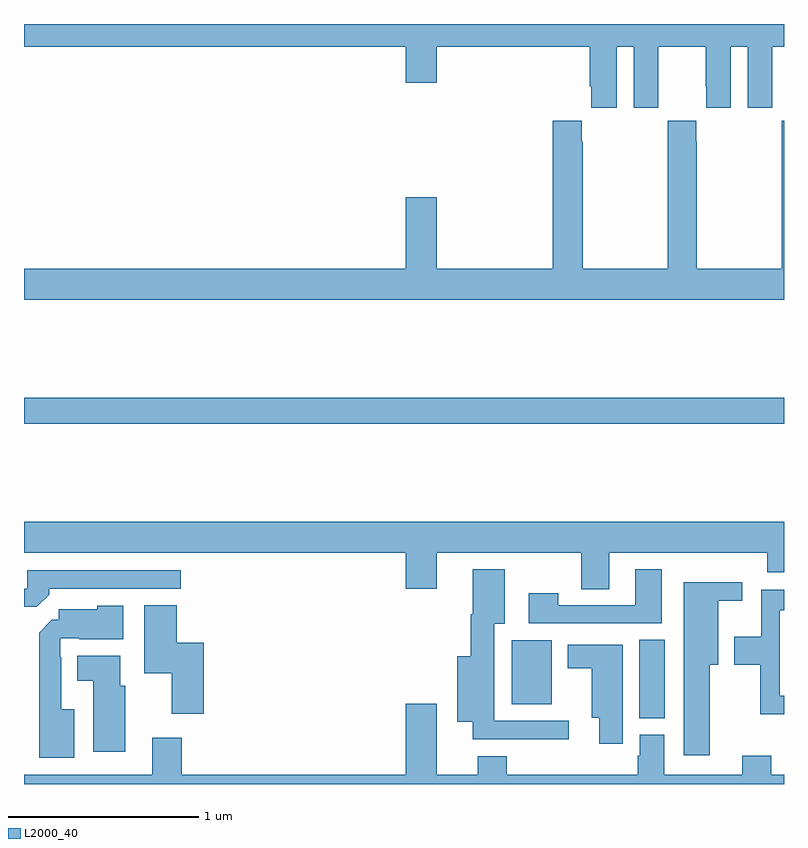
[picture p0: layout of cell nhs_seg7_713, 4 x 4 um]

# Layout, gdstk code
import gdstk
lib = gdstk.Library(unit=1e-6, precision=1e-09)
def R(c, l, rs):  # rectangles x0, y0, x1, y1
    for r in rs: c.add(gdstk.rectangle(r[:2], r[2:], *l))
def P(c, l, *ps):  # polygons
    for p in ps: c.add(gdstk.Polygon(p, *l))
L2000_40 = (2000, 40)

nhs_seg7_713 = lib.new_cell('nhs_seg7_713')
R(nhs_seg7_713, L2000_40, [(166.238,1066.345,166.372,1066.76), (165.566,1066.421,165.778,1066.756), (163,1067.896,167,1068.032)])
P(nhs_seg7_713, L2000_40, [(166.12,1069.88),(166.208,1069.88),(166.208,1069.56),(166.338,1069.56),(166.338,1069.672),(166.339,1069.672),(166.339,1069.88),(166.589,1069.88),(166.589,1069.672),(166.59,1069.672),(166.59,1069.56),(166.72,1069.56),(166.72,1069.88),(166.808,1069.88),(166.808,1069.56),(166.938,1069.56),(166.938,1069.672),(166.939,1069.672),(166.939,1069.88),(167,1069.88),(167,1070),(163,1070),(163,1069.88),(165.008,1069.88),(165.008,1069.692),(165.172,1069.692),(165.172,1069.88),(165.977,1069.88),(165.977,1069.672),(165.986,1069.672),(165.986,1069.56),(166.12,1069.56)],
  [(167,1069.492),(166.989,1069.492),(166.989,1069.379),(166.987,1069.379),(166.987,1068.712),(166.542,1068.712),(166.542,1069.379),(166.539,1069.379),(166.539,1069.492),(166.389,1069.492),(166.389,1069.379),(166.387,1069.379),(166.387,1068.712),(165.942,1068.712),(165.942,1069.379),(165.935,1069.379),(165.935,1069.492),(165.782,1069.492),(165.782,1068.712),(165.172,1068.712),(165.172,1069.087),(165.008,1069.087),(165.008,1068.712),(163,1068.712),(163,1068.548),(167,1068.548)],
  [(166.081,1067.216),(166.913,1067.216),(166.913,1067.114),(167,1067.114),(167,1067.38),(163,1067.38),(163,1067.216),(165.008,1067.216),(165.008,1067.028),(165.172,1067.028),(165.172,1067.216),(165.934,1067.216),(165.934,1067.026),(166.081,1067.026)],
  [(165.868,1066.332),(165.475,1066.332),(165.475,1066.844),(165.529,1066.844),(165.529,1067.131),(165.362,1067.131),(165.362,1066.893),(165.35,1066.893),(165.35,1066.672),(165.281,1066.672),(165.281,1066.328),(165.362,1066.328),(165.362,1066.235),(165.868,1066.235)],
  [(166.357,1067.131),(166.217,1067.131),(166.217,1066.941),(165.813,1066.941),(165.813,1067.005),(165.657,1067.005),(165.657,1066.845),(166.357,1066.845)],
  [(163.133,1066.997),(163.133,1067.028),(163.825,1067.028),(163.825,1067.124),(163.017,1067.124),(163.017,1067.028),(163,1067.028),(163,1066.932),(163.067,1066.932)],
  [(166.609,1066.628),(166.654,1066.628),(166.654,1066.964),(166.78,1066.964),(166.78,1067.062),(166.472,1067.062),(166.472,1066.152),(166.609,1066.152)],
  [(167,1066.464),(166.977,1066.464),(166.977,1066.914),(167,1066.914),(167,1067.022),(166.879,1067.022),(166.879,1066.774),(166.739,1066.774),(166.739,1066.627),(166.876,1066.627),(166.876,1066.367),(167,1066.367)],
  [(163.946,1066.744),(163.805,1066.744),(163.805,1066.942),(163.634,1066.942),(163.634,1066.582),(163.778,1066.582),(163.778,1066.371),(163.946,1066.371)],
  [(163.264,1066.393),(163.195,1066.393),(163.195,1066.667),(163.191,1066.667),(163.191,1066.767),(163.291,1066.767),(163.291,1066.763),(163.522,1066.763),(163.522,1066.939),(163.386,1066.939),(163.386,1066.921),(163.184,1066.921),(163.184,1066.864),(163.145,1066.864),(163.079,1066.797),(163.079,1066.139),(163.264,1066.139)],
  [(166.15,1066.732),(165.863,1066.732),(165.863,1066.61),(165.989,1066.61),(165.989,1066.349),(166.028,1066.349),(166.028,1066.212),(166.15,1066.212)],
  [(163.534,1066.518),(163.507,1066.518),(163.507,1066.675),(163.28,1066.675),(163.28,1066.544),(163.364,1066.544),(163.364,1066.17),(163.534,1066.17)],
  [(167,1066.048),(166.934,1066.048),(166.934,1066.15),(166.781,1066.15),(166.781,1066.048),(166.369,1066.048),(166.369,1066.26),(166.241,1066.26),(166.241,1066.149),(166.229,1066.149),(166.229,1066.048),(165.542,1066.048),(165.542,1066.147),(165.389,1066.147),(165.389,1066.048),(165.172,1066.048),(165.172,1066.423),(165.008,1066.423),(165.008,1066.048),(163.829,1066.048),(163.829,1066.243),(163.676,1066.243),(163.676,1066.048),(163,1066.048),(163,1066),(167,1066)])

lib.write_gds('nhs_seg7_713.gds')
